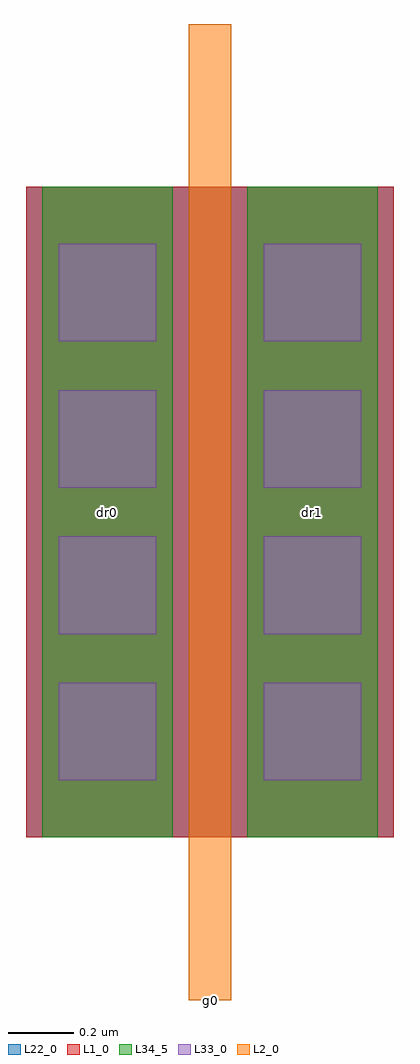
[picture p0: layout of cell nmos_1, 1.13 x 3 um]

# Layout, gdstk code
import gdstk
lib = gdstk.Library(unit=1e-6, precision=5e-09)
def R(c, l, rs):  # rectangles x0, y0, x1, y1
    for r in rs: c.add(gdstk.rectangle(r[:2], r[2:], *l))
def A(c, l, x, y, w, h, nx, ny, dx, dy):  # array of equal rectangles
    R(c, l, [(x+i*dx, y+j*dy, x+i*dx+w, y+j*dy+h) for i in range(nx) for j in range(ny)])
L1_0 = (1, 0)
L2_0 = (2, 0)
L22_0 = (22, 0)
L33_0 = (33, 0)
L34_5 = (34, 5)

nmos_1 = lib.new_cell('nmos_1')
R(nmos_1, L1_0, [(0,0,1.13,2)])
R(nmos_1, L2_0, [(0.5,-0.5,0.63,2.5)])
R(nmos_1, L22_0, [(0,0,1.13,2)])
A(nmos_1, L33_0, 0.1, 0.175, 0.3, 0.3, 1, 4, 0, 0.45)
A(nmos_1, L33_0, 0.73, 0.175, 0.3, 0.3, 1, 4, 0, 0.45)
R(nmos_1, L34_5, [(0.05,0,0.45,2), (0.68,0,1.08,2)])
nmos_1.add(gdstk.Label('g0', (0.565,-0.5), layer=2, texttype=0))
nmos_1.add(gdstk.Label('dr0', (0.25,1), layer=34, texttype=16))
nmos_1.add(gdstk.Label('dr1', (0.88,1), layer=34, texttype=16))

lib.write_gds('nmos_1.gds')
